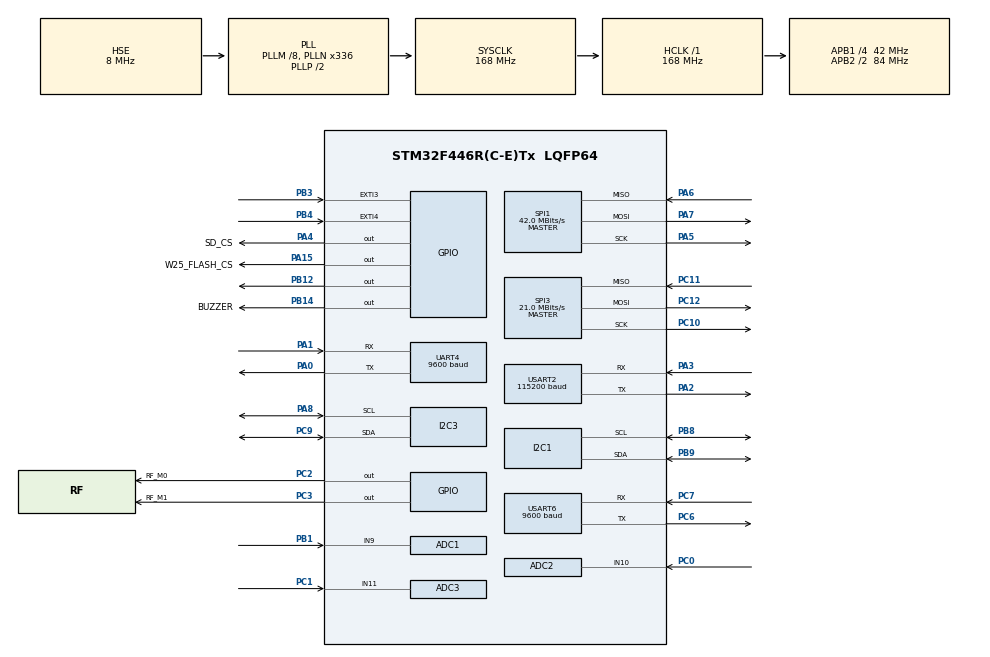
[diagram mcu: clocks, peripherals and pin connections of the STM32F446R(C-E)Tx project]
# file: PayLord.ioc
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ADC1.Channel-1\#ChannelRegularConversion=ADC_CHANNEL_9
ADC1.NbrOfConversionFlag=1
ADC1.Rank-1\#ChannelRegularConversion=1
ADC1.SamplingTime-1\#ChannelRegularConversion=ADC_SAMPLETIME_15CYCLES
ADC1.master=1
ADC2.Channel-0\#ChannelRegularConversion=ADC_CHANNEL_10
ADC2.NbrOfConversionFlag=1
ADC2.Rank-0\#ChannelRegularConversion=1
ADC2.SamplingTime-0\#ChannelRegularConversion=ADC_SAMPLETIME_15CYCLES
ADC3.Channel-0\#ChannelRegularConversion=ADC_CHANNEL_11
ADC3.NbrOfConversionFlag=1
ADC3.Rank-0\#ChannelRegularConversion=1
ADC3.SamplingTime-0\#ChannelRegularConversion=ADC_SAMPLETIME_15CYCLES
Dma.I2C1_RX.3.Direction=DMA_PERIPH_TO_MEMORY
Dma.I2C1_RX.3.FIFOMode=DMA_FIFOMODE_DISABLE
Dma.I2C1_RX.3.Instance=DMA1_Stream0
Dma.I2C1_RX.3.MemDataAlignment=DMA_MDATAALIGN_BYTE
Dma.I2C1_RX.3.MemInc=DMA_MINC_ENABLE
Dma.I2C1_RX.3.Mode=DMA_NORMAL
Dma.I2C1_RX.3.PeriphDataAlignment=DMA_PDATAALIGN_BYTE
Dma.I2C1_RX.3.PeriphInc=DMA_PINC_DISABLE
Dma.I2C1_RX.3.Priority=DMA_PRIORITY_LOW
Dma.Request0=USART6_RX
Dma.Request1=USART2_TX
Dma.Request2=UART4_TX
Dma.Request3=I2C1_RX
Dma.UART4_TX.2.Direction=DMA_MEMORY_TO_PERIPH
Dma.UART4_TX.2.FIFOMode=DMA_FIFOMODE_DISABLE
Dma.UART4_TX.2.Instance=DMA1_Stream4
Dma.UART4_TX.2.MemDataAlignment=DMA_MDATAALIGN_BYTE
Dma.UART4_TX.2.MemInc=DMA_MINC_ENABLE
Dma.UART4_TX.2.Mode=DMA_NORMAL
Dma.UART4_TX.2.PeriphDataAlignment=DMA_PDATAALIGN_BYTE
Dma.UART4_TX.2.PeriphInc=DMA_PINC_DISABLE
Dma.UART4_TX.2.Priority=DMA_PRIORITY_LOW
Dma.USART2_TX.1.Direction=DMA_MEMORY_TO_PERIPH
Dma.USART2_TX.1.FIFOMode=DMA_FIFOMODE_DISABLE
Dma.USART2_TX.1.Instance=DMA1_Stream6
Dma.USART2_TX.1.MemDataAlignment=DMA_MDATAALIGN_BYTE
Dma.USART2_TX.1.MemInc=DMA_MINC_ENABLE
Dma.USART2_TX.1.Mode=DMA_NORMAL
Dma.USART2_TX.1.PeriphDataAlignment=DMA_PDATAALIGN_BYTE
Dma.USART2_TX.1.PeriphInc=DMA_PINC_DISABLE
Dma.USART2_TX.1.Priority=DMA_PRIORITY_LOW
Dma.USART6_RX.0.Direction=DMA_PERIPH_TO_MEMORY
Dma.USART6_RX.0.FIFOMode=DMA_FIFOMODE_DISABLE
Dma.USART6_RX.0.Instance=DMA2_Stream2
Dma.USART6_RX.0.MemDataAlignment=DMA_MDATAALIGN_BYTE
Dma.USART6_RX.0.MemInc=DMA_MINC_ENABLE
Dma.USART6_RX.0.Mode=DMA_CIRCULAR
Dma.USART6_RX.0.PeriphDataAlignment=DMA_PDATAALIGN_BYTE
Dma.USART6_RX.0.PeriphInc=DMA_PINC_DISABLE
Dma.USART6_RX.0.Priority=DMA_PRIORITY_LOW
Mcu.Family=STM32F4
Mcu.Name=STM32F446R(C-E)Tx
Mcu.Package=LQFP64
NVIC.DMA1_Stream0_IRQn=true\:0\:0\:false\:false\:true\:false\:true\:true
NVIC.DMA1_Stream4_IRQn=true\:0\:0\:false\:false\:true\:false\:true\:true
NVIC.DMA1_Stream6_IRQn=true\:0\:0\:false\:false\:true\:false\:true\:true
NVIC.DMA2_Stream2_IRQn=true\:0\:0\:false\:false\:true\:false\:true\:true
NVIC.EXTI3_IRQn=true\:0\:0\:false\:false\:true\:true\:true\:true
NVIC.EXTI4_IRQn=true\:0\:0\:false\:false\:true\:true\:true\:true
NVIC.I2C1_EV_IRQn=true\:0\:0\:false\:false\:true\:true\:true\:true
NVIC.PriorityGroup=NVIC_PRIORITYGROUP_4
NVIC.TIM2_IRQn=true\:0\:0\:false\:false\:true\:true\:true\:true
NVIC.UART4_IRQn=true\:0\:0\:false\:false\:true\:true\:true\:true
NVIC.USART2_IRQn=true\:0\:0\:false\:false\:true\:true\:true\:true
NVIC.USART6_IRQn=true\:0\:0\:false\:false\:true\:true\:true\:true
PA0-WKUP.Mode=Asynchronous
PA0-WKUP.Signal=UART4_TX
PA1.Mode=Asynchronous
PA1.Signal=UART4_RX
PA13.Mode=Serial_Wire
PA13.Signal=SYS_JTMS-SWDIO
PA14.Mode=Serial_Wire
PA14.Signal=SYS_JTCK-SWCLK
PA15.GPIO_Label=W25_FLASH_CS
PA15.Signal=GPIO_Output
PA2.Mode=Asynchronous
PA2.Signal=USART2_TX
PA3.Mode=Asynchronous
PA3.Signal=USART2_RX
PA4.GPIO_Label=SD_CS
PA4.Signal=GPIO_Output
PA5.Mode=Full_Duplex_Master
PA5.Signal=SPI1_SCK
PA6.Mode=Full_Duplex_Master
PA6.Signal=SPI1_MISO
PA7.Mode=Full_Duplex_Master
PA7.Signal=SPI1_MOSI
PA8.GPIO_Pu=GPIO_NOPULL
PA8.Mode=I2C
PA8.Signal=I2C3_SCL
PB1.Signal=ADCx_IN9
PB12.GPIO_Speed=GPIO_SPEED_FREQ_VERY_HIGH
PB12.Signal=GPIO_Output
PB14.GPIO_Label=BUZZER
PB14.Signal=GPIO_Output
PB3.Signal=GPXTI3
PB4.Signal=GPXTI4
PB8.Mode=I2C
PB8.Signal=I2C1_SCL
PB9.Mode=I2C
PB9.Signal=I2C1_SDA
PC0.Signal=ADCx_IN10
PC1.Signal=ADCx_IN11
PC10.Mode=Full_Duplex_Master
PC10.Signal=SPI3_SCK
PC11.Mode=Full_Duplex_Master
PC11.Signal=SPI3_MISO
PC12.Mode=Full_Duplex_Master
PC12.Signal=SPI3_MOSI
PC14-OSC32_IN.Mode=LSE-External-Oscillator
PC14-OSC32_IN.Signal=RCC_OSC32_IN
PC15-OSC32_OUT.Mode=LSE-External-Oscillator
PC15-OSC32_OUT.Signal=RCC_OSC32_OUT
PC2.GPIO_Label=RF_M0
PC2.Signal=GPIO_Output
PC3.GPIO_Label=RF_M1
PC3.Signal=GPIO_Output
PC6.Mode=Asynchronous
PC6.Signal=USART6_TX
PC7.Mode=Asynchronous
PC7.Signal=USART6_RX
PC9.GPIO_Pu=GPIO_NOPULL
PC9.Mode=I2C
PC9.Signal=I2C3_SDA
PH0-OSC_IN.Mode=HSE-External-Oscillator
PH0-OSC_IN.Signal=RCC_OSC_IN
PH1-OSC_OUT.Mode=HSE-External-Oscillator
PH1-OSC_OUT.Signal=RCC_OSC_OUT
ProjectManager.HeapSize=0x200
ProjectManager.StackSize=0x400
ProjectManager.TargetToolchain=STM32CubeIDE
RCC.AHBFreq_Value=168000000
RCC.APB1CLKDivider=RCC_HCLK_DIV4
RCC.APB1Freq_Value=42000000
RCC.APB1TimFreq_Value=84000000
RCC.APB2CLKDivider=RCC_HCLK_DIV2
RCC.APB2Freq_Value=84000000
RCC.APB2TimFreq_Value=168000000
RCC.CortexFreq_Value=168000000
RCC.HCLKFreq_Value=168000000
RCC.HSE_VALUE=8000000
RCC.PLLM=8
RCC.PLLN=336
RCC.PLLSourceVirtual=RCC_PLLSOURCE_HSE
RCC.SYSCLKFreq_VALUE=168000000
RCC.SYSCLKSource=RCC_SYSCLKSOURCE_PLLCLK
RCC.USBFreq_Value=168000000
RCC.VCOOutputFreq_Value=336000000
SH.ADCx_IN10.0=ADC2_IN10,IN10
SH.ADCx_IN11.0=ADC3_IN11,IN11
SH.ADCx_IN9.0=ADC1_IN9,IN9
SPI1.BaudRatePrescaler=SPI_BAUDRATEPRESCALER_2
SPI1.CalculateBaudRate=42.0 MBits/s
SPI1.Direction=SPI_DIRECTION_2LINES
SPI1.Mode=SPI_MODE_MASTER
SPI1.VirtualType=VM_MASTER
SPI3.CalculateBaudRate=21.0 MBits/s
SPI3.Direction=SPI_DIRECTION_2LINES
SPI3.Mode=SPI_MODE_MASTER
SPI3.VirtualType=VM_MASTER
TIM2.Period=999
TIM2.Prescaler=8399
UART4.BaudRate=9600
UART4.VirtualMode=Asynchronous
USART2.BaudRate=115200
USART2.VirtualMode=VM_ASYNC
USART6.BaudRate=9600
USART6.VirtualMode=VM_ASYNC
VP_FATFS_VS_Generic.Mode=User_defined
VP_TIM2_VS_ClockSourceINT.Mode=Internal
board=custom

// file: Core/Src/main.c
/* USER CODE BEGIN Header */
/**
  ******************************************************************************
  * @file           : main.c
  * @brief          : Main program body for SkyLord2 Flight Computer
  ******************************************************************************
  * @attention
  *
  * Copyright (c) 2025 STMicroelectronics.
  * All rights reserved.
  *
  * This software is licensed under terms that can be found in the LICENSE file
  * in the root directory of this software component.
  * If no LICENSE file comes with this software, it is provided AS-IS.
  *
  ******************************************************************************
  */

/**
  ******************************************************************************
  * SkyLord2 Flight Computer - Main Application
  *
  * This application implements a comprehensive flight computer system for rocket
  * telemetry and control, featuring:
  *
  * SENSORS:
  * - BME280: Environmental sensor (temperature, humidity, pressure)
  * - BMI088: 6-axis IMU (3-axis accelerometer + 3-axis gyroscope)
  * - HMC1021: Single-axis magnetometer for magnetic field measurement
  * - L86 GPS/GNSS: Position and navigation data
  *
  * COMMUNICATION:
  * - E22 LoRa module: Long-range wireless telemetry transmission
  * - UART: Debug and telemetry output
  *
  * PROCESSING:
  * - Real-time sensor fusion using quaternion-based algorithms
  * - Kalman filtering for noise reduction
  * - Flight state estimation and control
  *
  * TIMING:
  * - 100ms periodic operations for data acquisition
  * - 1s periodic operations for magnetometer calibration
  * - Continuous sensor monitoring and data fusion
  *
  ******************************************************************************
  */
/* USER CODE END Header */
#include "main.h"
#include "fatfs.h"

/* USER CODE BEGIN Includes */

/* Project configuration */
#include "configuration.h"
#include "w25_flash_memory.h"

/* Standard library includes */
#include <string.h>
#include <stdio.h>
#include <math.h>

/* Sensor drivers */
#include "bme280.h"          // Environmental sensor (temp, humidity, pressure)
#include "bmi088.h"          // 6-axis IMU (accelerometer + gyroscope)
#include "l86_gnss.h"        // GPS/GNSS module

/* Communication modules */
#include "e22_lib.h"           // LoRa wireless communication
#include "packet.h"          // Telemetry packet handling
#include "data_logger.h"

/* FATFS File System */
#include "fatfs.h"             // FATFS file system

/* Profiling module */
//#include "dwt_profiler.h"      // DWT performance profiler

/* Algorithm and processing modules */
#include "queternion.h"         // Quaternion mathematics
#include "sensor_fusion.h"      // Sensor fusion algorithms
#include "flight_algorithm.h"   // Flight state detection and control

/*MATHEMATICAL CONSTANTS*/
#ifndef M_PI
#define M_PI 3.14159265358979323846f
#endif

/* USER CODE END Includes */

/* USER CODE BEGIN PM */
#define IMU_I2C_HNDLR	hi2c1 //put your I2C handler

#define CRNT_COEF					(float)0.0008056641	// Current coefficient (A)
/* USER CODE END PM */

ADC_HandleTypeDef hadc1;
ADC_HandleTypeDef hadc2;
ADC_HandleTypeDef hadc3;

I2C_HandleTypeDef hi2c1;
I2C_HandleTypeDef hi2c3;
DMA_HandleTypeDef hdma_i2c1_rx;

SPI_HandleTypeDef hspi1;
SPI_HandleTypeDef hspi3;

TIM_HandleTypeDef htim2;

UART_HandleTypeDef huart4;
UART_HandleTypeDef huart2;
UART_HandleTypeDef huart6;
DMA_HandleTypeDef hdma_uart4_tx;
DMA_HandleTypeDef hdma_usart2_tx;
DMA_HandleTypeDef hdma_usart6_rx;

/* USER CODE BEGIN PV */

/*==================== SENSOR STRUCTURES ====================*/
// Environmental sensor (BME280) - temperature, humidity, pressure
static BME_280_t BME280_sensor;         // BME280 barometric pressure sensor
bmi088_struct_t BMI_sensor;             // BMI088 IMU sensor (accelerometer + gyroscope)
sensor_fusion_t sensor_output;          // Sensor fusion output data
BME_parameters_t bme_params;             // BME280 calibration parameters
gps_data_t gnss_data;                  // L86 GNSS receiver data
static e22_conf_struct_t lora_1;

/*==================== COMMUNICATION BUFFERS ====================*/
// UART communication buffers
uint8_t usart1_rx_buffer[36];
static char uart_buffer[128];
extern unsigned char normal_paket[50];  // Normal mode telemetry packet
extern unsigned char sd_paket[64];  // Normal mode telemetry packet

volatile uint8_t usart4_tx_busy = 0;       // UART4 transmission busy flag
volatile uint8_t usart2_tx_busy = 0;       // UART2 transmission busy flag

/*==================== TIMING AND STATUS FLAGS ====================*/
// Timer flags for periodic operations
volatile uint8_t tx_timer_flag_100ms = 0;
volatile uint8_t tx_timer_flag_1s = 0;

// Communication status flags
volatile uint8_t usart1_packet_ready = 0;
volatile uint16_t usart1_packet_size = 0;
volatile uint8_t usart1_tx_busy = 0;

// ADC conversion status flags
volatile uint8_t adc_conversion_complete = 0;
volatile uint8_t adc_timer_flag_100ms = 0;
volatile uint8_t sr_in_timer_flag_1s = 0;

/*==================== SENSOR STATUS VARIABLES ====================*/
// Sensor initialization and health status
int is_BME_ok = 0;
int is_BMI_ok = 0;
int bmi_status_ok = 0;
uint32_t lastUpdate = 0;

// External configuration variables
extern volatile uint8_t tx_timer_flag_w25q;
extern uint8_t sector_erase_started;
extern uint8_t Gain;
extern uint8_t gyroOnlyMode;

/*==================== ADC BUFFERS AND MAGNETOMETER DATA ====================*/
// General ADC buffers
uint16_t adc1_buffer[1];
uint16_t adc2_buffer[1];
float current_mA = 0.0f;
float voltage_V = 0.0f;

// HMC1021 magnetometer (single axis) data
volatile uint16_t hmc1021_adc_buffer[1];
float hmc1021_voltage = 0.0f;
float hmc1021_gauss = 0.0f;

/* USER CODE END PV */

void SystemClock_Config(void);
static void MX_GPIO_Init(void);
static void MX_DMA_Init(void);
static void MX_I2C1_Init(void);
static void MX_I2C3_Init(void);
static void MX_TIM2_Init(void);
static void MX_USART2_UART_Init(void);
static void MX_ADC1_Init(void);
static void MX_USART6_UART_Init(void);
static void MX_UART4_Init(void);
static void MX_ADC2_Init(void);
static void MX_ADC3_Init(void);
static void MX_SPI1_Init(void);
static void MX_SPI3_Init(void);
/* USER CODE BEGIN PFP */
static void bme280_begin();
uint8_t bmi_imu_init(void);
void read_value();
void read_ADC(void);
void lora_send_packet_dma(uint8_t *data, uint16_t size);
void uart2_send_packet_dma(uint8_t *data, uint16_t size);
void lora_init(void);                 // Initialize LoRa E22 module

/* USER CODE END PFP */

int main(void)
{

  /* MCU Configuration--------------------------------------------------------*/

  /* Reset of all peripherals, Initializes the Flash interface and the Systick. */
  HAL_Init();

  /* Configure the system clock */
  SystemClock_Config();

  /* Initialize all configured peripherals */
  MX_GPIO_Init();
  MX_DMA_Init();
  MX_I2C1_Init();
  MX_I2C3_Init();
  MX_TIM2_Init();
  MX_USART2_UART_Init();
  MX_ADC1_Init();
  MX_USART6_UART_Init();
  MX_UART4_Init();
  MX_ADC2_Init();
  MX_ADC3_Init();
  MX_SPI1_Init();
  MX_FATFS_Init();
  MX_SPI3_Init();
  /* USER CODE BEGIN 2 */

	/*==================== TIMER AND INTERRUPT CONFIGURATION ====================*/
	// Initialize and start timer for periodic operations (100ms intervals)
	MX_TIM2_Init();
	HAL_TIM_Base_Start_IT(&htim2);
	HAL_NVIC_SetPriority(TIM2_IRQn, 1, 0);
	HAL_NVIC_EnableIRQ(TIM2_IRQn);

	// Configure external interrupt priorities for sensor data ready signals
	HAL_NVIC_SetPriority(EXTI3_IRQn, 0, 1);
	HAL_NVIC_SetPriority(EXTI4_IRQn, 0, 1);

	// Enable external interrupts for sensor data ready signals
	HAL_NVIC_EnableIRQ(EXTI4_IRQn);
	HAL_NVIC_EnableIRQ(EXTI3_IRQn);

	/* ==== SENSOR INITIALIZATION ==== */
	// Initialize BME280 sensor (temperature, humidity, pressure)
	bme280_begin();
	HAL_Delay(1000);
	bme280_config();
	bme280_update();

	// Initialize BMI088 IMU (accelerometer and gyroscope)
	bmi_imu_init();
	bmi088_config(&BMI_sensor);
	get_offset(&BMI_sensor);

	/*==================== SENSOR FUSION INITIALIZATION ====================*/
	// Initialize quaternion-based sensor fusion
	getInitialQuaternion();
	sensor_fusion_init(&BME280_sensor);

	/*==================== DWT PROFILER INITIALIZATION ====================*/
	// Initialize DWT profiler for performance monitoring
	//dwt_profiler_init();

	/* ==== LORA COMMUNICATION SETUP ==== */
    e22_config_mode(&lora_1);
    HAL_Delay(20);
	lora_init();
    HAL_Delay(20);
	e22_transmit_mode(&lora_1);

	/* ==== GPS/GNSS INITIALIZATION ==== */
	// Initialize L86 GPS/GNSS module
	HAL_UART_Transmit(&huart6, (uint8_t*)"$PMTK251,57600*2C\r\n", 19, 100);
    HAL_UART_DeInit(&huart6);
    huart6.Init.BaudRate = 57600;
    HAL_UART_Init(&huart6);
	HAL_DMA_Init(&hdma_usart6_rx);
	L86_GNSS_Init(&huart6);

	data_logger_init();
	W25Q_Init(&hspi3);

    HAL_GPIO_WritePin(BUZZER_GPIO_Port, BUZZER_Pin, SET);
    HAL_Delay(300);
    HAL_GPIO_WritePin(BUZZER_GPIO_Port, BUZZER_Pin, RESET);
  /* USER CODE END 2 */

  /* Infinite loop */
  while (1)
  {

    /* USER CODE BEGIN 3 */

		/*CONTINUOUS SENSOR UPDATES*/

		//PROFILE_START(PROF_BMI088_UPDATE);
		bmi088_update(&BMI_sensor);		// Update IMU sensor data (accelerometer + gyroscope) - High frequency sampling
		//PROFILE_END(PROF_BMI088_UPDATE);

		//PROFILE_START(PROF_BME280_UPDATE);
		bme280_update(); 		// Update barometric pressure sensor data for altitude estimation
		//PROFILE_END(PROF_BME280_UPDATE);

		/*PERIODIC OPERATIONS (100ms)*/
		if (tx_timer_flag_100ms >= 1) {
		  tx_timer_flag_100ms = 0;

		  // Read magnetometer ADC values
		  //PROFILE_START(PROF_ADC_READ);
		  read_ADC();
		  //PROFILE_END(PROF_ADC_READ);

		  // Sensor fusion and flight algorithm processing
		  //PROFILE_START(PROF_SENSOR_FUSION);
		  sensor_fusion_update_kalman(&BME280_sensor, &BMI_sensor, &sensor_output);
		  //PROFILE_END(PROF_SENSOR_FUSION);

		  //PROFILE_START(PROF_FLIGHT_ALGORITHM);
		  flight_algorithm_update(&BME280_sensor, &BMI_sensor, &sensor_output);
		  //PROFILE_END(PROF_FLIGHT_ALGORITHM);

		  // Update GPS/GNSS data
		  //PROFILE_START(PROF_GNSS_UPDATE);
		  L86_GNSS_Update(&gnss_data);
		  //PROFILE_END(PROF_GNSS_UPDATE);

		  // Packet compose
		  //PROFILE_START(PROF_PACKET_COMPOSE);
		  addDataPacketNormal(&BME280_sensor, &BMI_sensor, &sensor_output, &gnss_data, hmc1021_gauss, voltage_V, current_mA);
		  //PROFILE_END(PROF_PACKET_COMPOSE);

		  addDataPacketSD(&BME280_sensor, &BMI_sensor, &sensor_output, &gnss_data, hmc1021_gauss, voltage_V, current_mA);

		  //PROFILE_START(PROF_SD_LOGGER);
		  log_normal_packet_data(sd_paket);
		  //PROFILE_END(PROF_SD_LOGGER);

		  W25Q_WriteToBufferFlushOnSectorFull(sd_paket);

		  //Send telemetry packet via DMA (non-blocking)
		  //7PROFILE_START(PROF_UART2_SEND);
		  uart2_send_packet_dma((uint8_t*)normal_paket, 50);
		  //PROFILE_END(PROF_UART2_SEND);

		  // Output profiling results via UART2
		  //dwt_profiler_print_compact(uart2_send_packet_dma);

		}

		/*PERIODIC OPERATIONS (1 SECOND)*/
		// Execute operations every 1 second (10 * 100ms)
		if (tx_timer_flag_1s >= 2) {
		  tx_timer_flag_1s = 0;

		  //PROFILE_START(PROF_LORA_SEND);
		  lora_send_packet_dma((uint8_t*)normal_paket, 50);
		  //PROFILE_END(PROF_LORA_SEND);

		}

  	  }
  /* USER CODE END 3 */
}

void SystemClock_Config(void)
{
  RCC_OscInitTypeDef RCC_OscInitStruct = {0};
  RCC_ClkInitTypeDef RCC_ClkInitStruct = {0};

  /** Configure the main internal regulator output voltage
  */
  __HAL_RCC_PWR_CLK_ENABLE();
  __HAL_PWR_VOLTAGESCALING_CONFIG(PWR_REGULATOR_VOLTAGE_SCALE1);

  /** Initializes the RCC Oscillators according to the specified parameters
  * in the RCC_OscInitTypeDef structure.
  */
  RCC_OscInitStruct.OscillatorType = RCC_OSCILLATORTYPE_HSE;
  RCC_OscInitStruct.HSEState = RCC_HSE_ON;
  RCC_OscInitStruct.PLL.PLLState = RCC_PLL_ON;
  RCC_OscInitStruct.PLL.PLLSource = RCC_PLLSOURCE_HSE;
  RCC_OscInitStruct.PLL.PLLM = 8;
  RCC_OscInitStruct.PLL.PLLN = 336;
  RCC_OscInitStruct.PLL.PLLP = RCC_PLLP_DIV2;
  RCC_OscInitStruct.PLL.PLLQ = 2;
  RCC_OscInitStruct.PLL.PLLR = 2;
  if (HAL_RCC_OscConfig(&RCC_OscInitStruct) != HAL_OK)
  {
    Error_Handler();
  }

  /** Initializes the CPU, AHB and APB buses clocks
  */
  RCC_ClkInitStruct.ClockType = RCC_CLOCKTYPE_HCLK|RCC_CLOCKTYPE_SYSCLK
                              |RCC_CLOCKTYPE_PCLK1|RCC_CLOCKTYPE_PCLK2;
  RCC_ClkInitStruct.SYSCLKSource = RCC_SYSCLKSOURCE_PLLCLK;
  RCC_ClkInitStruct.AHBCLKDivider = RCC_SYSCLK_DIV1;
  RCC_ClkInitStruct.APB1CLKDivider = RCC_HCLK_DIV4;
  RCC_ClkInitStruct.APB2CLKDivider = RCC_HCLK_DIV2;

  if (HAL_RCC_ClockConfig(&RCC_ClkInitStruct, FLASH_LATENCY_5) != HAL_OK)
  {
    Error_Handler();
  }
}

static void MX_ADC1_Init(void)
{

  ADC_ChannelConfTypeDef sConfig = {0};

  /** Configure the global features of the ADC (Clock, Resolution, Data Alignment and number of conversion)
  */
  hadc1.Instance = ADC1;
  hadc1.Init.ClockPrescaler = ADC_CLOCK_SYNC_PCLK_DIV4;
  hadc1.Init.Resolution = ADC_RESOLUTION_12B;
  hadc1.Init.ScanConvMode = DISABLE;
  hadc1.Init.ContinuousConvMode = DISABLE;
  hadc1.Init.DiscontinuousConvMode = DISABLE;
  hadc1.Init.ExternalTrigConvEdge = ADC_EXTERNALTRIGCONVEDGE_NONE;
  hadc1.Init.ExternalTrigConv = ADC_SOFTWARE_START;
  hadc1.Init.DataAlign = ADC_DATAALIGN_RIGHT;
  hadc1.Init.NbrOfConversion = 1;
  hadc1.Init.DMAContinuousRequests = DISABLE;
  hadc1.Init.EOCSelection = ADC_EOC_SINGLE_CONV;
  if (HAL_ADC_Init(&hadc1) != HAL_OK)
  {
    Error_Handler();
  }

  /** Configure for the selected ADC regular channel its corresponding rank in the sequencer and its sample time.
  */
  sConfig.Channel = ADC_CHANNEL_9;
  sConfig.Rank = 1;
  sConfig.SamplingTime = ADC_SAMPLETIME_15CYCLES;
  if (HAL_ADC_ConfigChannel(&hadc1, &sConfig) != HAL_OK)
  {
    Error_Handler();
  }

}

static void MX_ADC2_Init(void)
{

  ADC_ChannelConfTypeDef sConfig = {0};

  /** Configure the global features of the ADC (Clock, Resolution, Data Alignment and number of conversion)
  */
  hadc2.Instance = ADC2;
  hadc2.Init.ClockPrescaler = ADC_CLOCK_SYNC_PCLK_DIV4;
  hadc2.Init.Resolution = ADC_RESOLUTION_12B;
  hadc2.Init.ScanConvMode = DISABLE;
  hadc2.Init.ContinuousConvMode = DISABLE;
  hadc2.Init.DiscontinuousConvMode = DISABLE;
  hadc2.Init.ExternalTrigConvEdge = ADC_EXTERNALTRIGCONVEDGE_NONE;
  hadc2.Init.ExternalTrigConv = ADC_SOFTWARE_START;
  hadc2.Init.DataAlign = ADC_DATAALIGN_RIGHT;
  hadc2.Init.NbrOfConversion = 1;
  hadc2.Init.DMAContinuousRequests = DISABLE;
  hadc2.Init.EOCSelection = ADC_EOC_SINGLE_CONV;
  if (HAL_ADC_Init(&hadc2) != HAL_OK)
  {
    Error_Handler();
  }

  /** Configure for the selected ADC regular channel its corresponding rank in the sequencer and its sample time.
  */
  sConfig.Channel = ADC_CHANNEL_10;
  sConfig.Rank = 1;
  sConfig.SamplingTime = ADC_SAMPLETIME_15CYCLES;
  if (HAL_ADC_ConfigChannel(&hadc2, &sConfig) != HAL_OK)
  {
    Error_Handler();
  }

}

static void MX_ADC3_Init(void)
{

  ADC_ChannelConfTypeDef sConfig = {0};

  /** Configure the global features of the ADC (Clock, Resolution, Data Alignment and number of conversion)
  */
  hadc3.Instance = ADC3;
  hadc3.Init.ClockPrescaler = ADC_CLOCK_SYNC_PCLK_DIV4;
  hadc3.Init.Resolution = ADC_RESOLUTION_12B;
  hadc3.Init.ScanConvMode = DISABLE;
  hadc3.Init.ContinuousConvMode = DISABLE;
  hadc3.Init.DiscontinuousConvMode = DISABLE;
  hadc3.Init.ExternalTrigConvEdge = ADC_EXTERNALTRIGCONVEDGE_NONE;
  hadc3.Init.ExternalTrigConv = ADC_SOFTWARE_START;
  hadc3.Init.DataAlign = ADC_DATAALIGN_RIGHT;
  hadc3.Init.NbrOfConversion = 1;
  hadc3.Init.DMAContinuousRequests = DISABLE;
  hadc3.Init.EOCSelection = ADC_EOC_SINGLE_CONV;
  if (HAL_ADC_Init(&hadc3) != HAL_OK)
  {
    Error_Handler();
  }

  /** Configure for the selected ADC regular channel its corresponding rank in the sequencer and its sample time.
  */
  sConfig.Channel = ADC_CHANNEL_11;
  sConfig.Rank = 1;
  sConfig.SamplingTime = ADC_SAMPLETIME_15CYCLES;
  if (HAL_ADC_ConfigChannel(&hadc3, &sConfig) != HAL_OK)
  {
    Error_Handler();
  }

}

static void MX_I2C1_Init(void)
{

  hi2c1.Instance = I2C1;
  hi2c1.Init.ClockSpeed = 100000;
  hi2c1.Init.DutyCycle = I2C_DUTYCYCLE_2;
  hi2c1.Init.OwnAddress1 = 0;
  hi2c1.Init.AddressingMode = I2C_ADDRESSINGMODE_7BIT;
  hi2c1.Init.DualAddressMode = I2C_DUALADDRESS_DISABLE;
  hi2c1.Init.OwnAddress2 = 0;
  hi2c1.Init.GeneralCallMode = I2C_GENERALCALL_DISABLE;
  hi2c1.Init.NoStretchMode = I2C_NOSTRETCH_DISABLE;
  if (HAL_I2C_Init(&hi2c1) != HAL_OK)
  {
    Error_Handler();
  }

}

static void MX_I2C3_Init(void)
{

  hi2c3.Instance = I2C3;
  hi2c3.Init.ClockSpeed = 100000;
  hi2c3.Init.DutyCycle = I2C_DUTYCYCLE_2;
  hi2c3.Init.OwnAddress1 = 0;
  hi2c3.Init.AddressingMode = I2C_ADDRESSINGMODE_7BIT;
  hi2c3.Init.DualAddressMode = I2C_DUALADDRESS_DISABLE;
  hi2c3.Init.OwnAddress2 = 0;
  hi2c3.Init.GeneralCallMode = I2C_GENERALCALL_DISABLE;
  hi2c3.Init.NoStretchMode = I2C_NOSTRETCH_DISABLE;
  if (HAL_I2C_Init(&hi2c3) != HAL_OK)
  {
    Error_Handler();
  }

}

static void MX_SPI1_Init(void)
{

  /* SPI1 parameter configuration*/
  hspi1.Instance = SPI1;
  hspi1.Init.Mode = SPI_MODE_MASTER;
  hspi1.Init.Direction = SPI_DIRECTION_2LINES;
  hspi1.Init.DataSize = SPI_DATASIZE_8BIT;
  hspi1.Init.CLKPolarity = SPI_POLARITY_LOW;
  hspi1.Init.CLKPhase = SPI_PHASE_1EDGE;
  hspi1.Init.NSS = SPI_NSS_SOFT;
  hspi1.Init.BaudRatePrescaler = SPI_BAUDRATEPRESCALER_2;
  hspi1.Init.FirstBit = SPI_FIRSTBIT_MSB;
  hspi1.Init.TIMode = SPI_TIMODE_DISABLE;
  hspi1.Init.CRCCalculation = SPI_CRCCALCULATION_DISABLE;
  hspi1.Init.CRCPolynomial = 10;
  if (HAL_SPI_Init(&hspi1) != HAL_OK)
  {
    Error_Handler();
  }

}

static void MX_SPI3_Init(void)
{

  /* SPI3 parameter configuration*/
  hspi3.Instance = SPI3;
  hspi3.Init.Mode = SPI_MODE_MASTER;
  hspi3.Init.Direction = SPI_DIRECTION_2LINES;
  hspi3.Init.DataSize = SPI_DATASIZE_8BIT;
  hspi3.Init.CLKPolarity = SPI_POLARITY_LOW;
  hspi3.Init.CLKPhase = SPI_PHASE_1EDGE;
  hspi3.Init.NSS = SPI_NSS_SOFT;
  hspi3.Init.BaudRatePrescaler = SPI_BAUDRATEPRESCALER_2;
  hspi3.Init.FirstBit = SPI_FIRSTBIT_MSB;
  hspi3.Init.TIMode = SPI_TIMODE_DISABLE;
  hspi3.Init.CRCCalculation = SPI_CRCCALCULATION_DISABLE;
  hspi3.Init.CRCPolynomial = 10;
  if (HAL_SPI_Init(&hspi3) != HAL_OK)
  {
    Error_Handler();
  }

}

static void MX_TIM2_Init(void)
{

  TIM_ClockConfigTypeDef sClockSourceConfig = {0};
  TIM_MasterConfigTypeDef sMasterConfig = {0};

  htim2.Instance = TIM2;
  htim2.Init.Prescaler = 8399;
  htim2.Init.CounterMode = TIM_COUNTERMODE_UP;
  htim2.Init.Period = 999;
  htim2.Init.ClockDivision = TIM_CLOCKDIVISION_DIV1;
  htim2.Init.AutoReloadPreload = TIM_AUTORELOAD_PRELOAD_DISABLE;
  if (HAL_TIM_Base_Init(&htim2) != HAL_OK)
  {
    Error_Handler();
  }
  sClockSourceConfig.ClockSource = TIM_CLOCKSOURCE_INTERNAL;
  if (HAL_TIM_ConfigClockSource(&htim2, &sClockSourceConfig) != HAL_OK)
  {
    Error_Handler();
  }
  sMasterConfig.MasterOutputTrigger = TIM_TRGO_RESET;
  sMasterConfig.MasterSlaveMode = TIM_MASTERSLAVEMODE_DISABLE;
  if (HAL_TIMEx_MasterConfigSynchronization(&htim2, &sMasterConfig) != HAL_OK)
  {
    Error_Handler();
  }

}

static void MX_UART4_Init(void)
{

  huart4.Instance = UART4;
  huart4.Init.BaudRate = 9600;
  huart4.Init.WordLength = UART_WORDLENGTH_8B;
  huart4.Init.StopBits = UART_STOPBITS_1;
  huart4.Init.Parity = UART_PARITY_NONE;
  huart4.Init.Mode = UART_MODE_TX_RX;
  huart4.Init.HwFlowCtl = UART_HWCONTROL_NONE;
  huart4.Init.OverSampling = UART_OVERSAMPLING_16;
  if (HAL_UART_Init(&huart4) != HAL_OK)
  {
    Error_Handler();
  }

}

static void MX_USART2_UART_Init(void)
{

  huart2.Instance = USART2;
  huart2.Init.BaudRate = 115200;
  huart2.Init.WordLength = UART_WORDLENGTH_8B;
  huart2.Init.StopBits = UART_STOPBITS_1;
  huart2.Init.Parity = UART_PARITY_NONE;
  huart2.Init.Mode = UART_MODE_TX_RX;
  huart2.Init.HwFlowCtl = UART_HWCONTROL_NONE;
  huart2.Init.OverSampling = UART_OVERSAMPLING_16;
  if (HAL_UART_Init(&huart2) != HAL_OK)
  {
    Error_Handler();
  }

}

static void MX_USART6_UART_Init(void)
{

  huart6.Instance = USART6;
  huart6.Init.BaudRate = 9600;
  huart6.Init.WordLength = UART_WORDLENGTH_8B;
  huart6.Init.StopBits = UART_STOPBITS_1;
  huart6.Init.Parity = UART_PARITY_NONE;
  huart6.Init.Mode = UART_MODE_TX_RX;
  huart6.Init.HwFlowCtl = UART_HWCONTROL_NONE;
  huart6.Init.OverSampling = UART_OVERSAMPLING_16;
  if (HAL_UART_Init(&huart6) != HAL_OK)
  {
    Error_Handler();
  }

}

static void MX_DMA_Init(void)
{

  /* DMA controller clock enable */
  __HAL_RCC_DMA2_CLK_ENABLE();
  __HAL_RCC_DMA1_CLK_ENABLE();

  /* DMA interrupt init */
  /* DMA1_Stream0_IRQn interrupt configuration */
  HAL_NVIC_SetPriority(DMA1_Stream0_IRQn, 0, 0);
  HAL_NVIC_EnableIRQ(DMA1_Stream0_IRQn);
  /* DMA1_Stream4_IRQn interrupt configuration */
  HAL_NVIC_SetPriority(DMA1_Stream4_IRQn, 0, 0);
  HAL_NVIC_EnableIRQ(DMA1_Stream4_IRQn);
  /* DMA1_Stream6_IRQn interrupt configuration */
  HAL_NVIC_SetPriority(DMA1_Stream6_IRQn, 0, 0);
  HAL_NVIC_EnableIRQ(DMA1_Stream6_IRQn);
  /* DMA2_Stream2_IRQn interrupt configuration */
  HAL_NVIC_SetPriority(DMA2_Stream2_IRQn, 0, 0);
  HAL_NVIC_EnableIRQ(DMA2_Stream2_IRQn);

}

static void MX_GPIO_Init(void)
{
  GPIO_InitTypeDef GPIO_InitStruct = {0};

  /* GPIO Ports Clock Enable */
  __HAL_RCC_GPIOC_CLK_ENABLE();
  __HAL_RCC_GPIOH_CLK_ENABLE();
  __HAL_RCC_GPIOA_CLK_ENABLE();
  __HAL_RCC_GPIOB_CLK_ENABLE();

  /*Configure GPIO pin Output Level */
  HAL_GPIO_WritePin(GPIOC, RF_M0_Pin|RF_M1_Pin, GPIO_PIN_RESET);

  /*Configure GPIO pin Output Level */
  HAL_GPIO_WritePin(GPIOA, SD_CS_Pin|W25_FLASH_CS_Pin, GPIO_PIN_RESET);

  /*Configure GPIO pin Output Level */
  HAL_GPIO_WritePin(GPIOB, GPIO_PIN_12|BUZZER_Pin, GPIO_PIN_RESET);

  /*Configure GPIO pins : RF_M0_Pin RF_M1_Pin */
  GPIO_InitStruct.Pin = RF_M0_Pin|RF_M1_Pin;
  GPIO_InitStruct.Mode = GPIO_MODE_OUTPUT_PP;
  GPIO_InitStruct.Pull = GPIO_NOPULL;
  GPIO_InitStruct.Speed = GPIO_SPEED_FREQ_LOW;
  HAL_GPIO_Init(GPIOC, &GPIO_InitStruct);

  /*Configure GPIO pins : SD_CS_Pin W25_FLASH_CS_Pin */
  GPIO_InitStruct.Pin = SD_CS_Pin|W25_FLASH_CS_Pin;
  GPIO_InitStruct.Mode = GPIO_MODE_OUTPUT_PP;
  GPIO_InitStruct.Pull = GPIO_NOPULL;
  GPIO_InitStruct.Speed = GPIO_SPEED_FREQ_LOW;
  HAL_GPIO_Init(GPIOA, &GPIO_InitStruct);

  /*Configure GPIO pin : PB12 */
  GPIO_InitStruct.Pin = GPIO_PIN_12;
  GPIO_InitStruct.Mode = GPIO_MODE_OUTPUT_PP;
  GPIO_InitStruct.Pull = GPIO_NOPULL;
  GPIO_InitStruct.Speed = GPIO_SPEED_FREQ_VERY_HIGH;
  HAL_GPIO_Init(GPIOB, &GPIO_InitStruct);

  /*Configure GPIO pin : BUZZER_Pin */
  GPIO_InitStruct.Pin = BUZZER_Pin;
  GPIO_InitStruct.Mode = GPIO_MODE_OUTPUT_PP;
  GPIO_InitStruct.Pull = GPIO_NOPULL;
  GPIO_InitStruct.Speed = GPIO_SPEED_FREQ_LOW;
  HAL_GPIO_Init(BUZZER_GPIO_Port, &GPIO_InitStruct);

  /*Configure GPIO pins : PB3 PB4 */
  GPIO_InitStruct.Pin = GPIO_PIN_3|GPIO_PIN_4;
  GPIO_InitStruct.Mode = GPIO_MODE_IT_RISING;
  GPIO_InitStruct.Pull = GPIO_NOPULL;
  HAL_GPIO_Init(GPIOB, &GPIO_InitStruct);

  /* EXTI interrupt init*/
  HAL_NVIC_SetPriority(EXTI3_IRQn, 0, 0);
  HAL_NVIC_EnableIRQ(EXTI3_IRQn);

  HAL_NVIC_SetPriority(EXTI4_IRQn, 0, 0);
  HAL_NVIC_EnableIRQ(EXTI4_IRQn);

}

/* USER CODE BEGIN 4 */

/**
 * @brief Initialize LoRa E22 module
 * @note Configures LoRa module for telemetry transmission
 */
void lora_init(void)
{
	lora_1.baud_rate 		= 	E22_BAUD_RATE_115200;
	lora_1.parity_bit		=	E22_PARITY_8N1;
	lora_1.air_rate			=	E22_AIR_DATA_RATE_38400;
	lora_1.packet_size		=	E22_PACKET_SIZE_64;
	lora_1.rssi_noise		=	E22_RSSI_NOISE_DISABLE;
	lora_1.power			=	E22_TRANSMITTING_POWER_22;
	lora_1.rssi_enable		=	E22_ENABLE_RSSI_DISABLE;
	lora_1.mode				= 	E22_TRANSMISSION_MODE_TRANSPARENT;
	lora_1.repeater_func	=	E22_REPEATER_FUNC_DISABLE;
	lora_1.lbt				=	E22_LBT_DISABLE;
	lora_1.wor				=	E22_WOR_RECEIVER;
	lora_1.wor_cycle		=	E22_WOR_CYCLE_1000;
	lora_1.channel			=	28;

	e22_init(&lora_1, &huart4);

	HAL_UART_DeInit(&huart4);
	HAL_Delay(20);
	huart4.Init.BaudRate = 115200;
	HAL_Delay(20);
	HAL_UART_Init(&huart4);

}

/**
 * @brief Initialize BME280 environmental sensor
 * @note Configures BME280 with predefined settings for normal operation
 */
void bme280_begin()
{
  BME280_sensor.device_config.bme280_filter = BME280_FILTER_2;
  BME280_sensor.device_config.bme280_mode = BME280_MODE_NORMAL;
  BME280_sensor.device_config.bme280_output_speed = BME280_OS_4;
  BME280_sensor.device_config.bme280_standby_time = BME280_STBY_125;
  bme280_init(&BME280_sensor, &hi2c3);
}

/**
 * @brief Initialize BMI088 IMU sensor
 * @return Initialization status
 * @note Configures both accelerometer and gyroscope with optimal settings
 */
uint8_t bmi_imu_init(void)
{
  // Accelerometer configuration
  BMI_sensor.device_config.acc_bandwith = ACC_BWP_OSR4;
  BMI_sensor.device_config.acc_outputDateRate = ACC_ODR_200;
  BMI_sensor.device_config.acc_powerMode = ACC_PWR_SAVE_ACTIVE;
  BMI_sensor.device_config.acc_range = ACC_RANGE_24G;

  // Gyroscope configuration
  BMI_sensor.device_config.gyro_bandWidth = GYRO_BW_116;
  BMI_sensor.device_config.gyro_range = GYRO_RANGE_2000;
  BMI_sensor.device_config.gyro_powerMode = GYRO_LPM_NORMAL;

  // Interrupt and I2C configuration
  BMI_sensor.device_config.acc_IRQ = EXTI3_IRQn;
  BMI_sensor.device_config.gyro_IRQ = EXTI4_IRQn;
  BMI_sensor.device_config.BMI_I2c = &IMU_I2C_HNDLR;
  BMI_sensor.device_config.offsets = NULL; // Offset data stored in backup SRAM

  return bmi088_init(&BMI_sensor);
}

/**
 * @brief Read and transmit sensor values via UART
 * @note Formats and sends IMU orientation data and system parameters
 */
void read_value(){
  // Quaternion değerlerini test et
  float yaw = BMI_sensor.datas.yaw;     // Mahony'den
  float pitch = BMI_sensor.datas.pitch; // Mahony'den
  float roll = BMI_sensor.datas.roll;   // Mahony'den
  float theta = BMI_sensor.datas.theta; // Z açısı
  float yaw1 = BMI_sensor.datas.yaw1;   // EKF'den
  float pitch1 = BMI_sensor.datas.pitch1; // EKF'den
  float roll1 = BMI_sensor.datas.roll1;   // EKF'den

  // Transmit Mahony quaternion data
  sprintf(uart_buffer, "MAHONY: Y:%.2f P:%.2f R:%.2f T:%.2f\r\n", yaw, pitch, roll, theta);
  HAL_UART_Transmit(&huart2, (uint8_t*)uart_buffer, strlen(uart_buffer), 100);

  // Transmit EKF quaternion data
  sprintf(uart_buffer, "EKF: Y:%.2f P:%.2f R:%.2f\r\n", yaw1, pitch1, roll1);
  HAL_UART_Transmit(&huart2, (uint8_t*)uart_buffer, strlen(uart_buffer), 100);

  // Transmit raw sensor data for debug
  sprintf(uart_buffer, "GYRO: X:%.3f Y:%.3f Z:%.3f\r\n", BMI_sensor.datas.gyro_x, BMI_sensor.datas.gyro_y, BMI_sensor.datas.gyro_z);
  HAL_UART_Transmit(&huart2, (uint8_t*)uart_buffer, strlen(uart_buffer), 100);

  sprintf(uart_buffer, "ACC: X:%.3f Y:%.3f Z:%.3f DT:%.3f\r\n", BMI_sensor.datas.acc_x, BMI_sensor.datas.acc_y, BMI_sensor.datas.acc_z, BMI_sensor.datas.delta_time);
  HAL_UART_Transmit(&huart2, (uint8_t*)uart_buffer, strlen(uart_buffer), 100);

  // Transmit system gain parameter
  sprintf(uart_buffer, "G %d\r", Gain);
  HAL_UART_Transmit(&huart2, (uint8_t*)uart_buffer, strlen(uart_buffer), 100);

  // Transmit gyro-only mode status
  sprintf(uart_buffer, "M %d\r\n", gyroOnlyMode);
  HAL_UART_Transmit(&huart2, (uint8_t*)uart_buffer, strlen(uart_buffer), 100);
}

/**
 * @brief Read HMC1021 magnetometer ADC values
 * @note Converts ADC readings to magnetic field strength and transmits data
 */
void read_ADC()
{
    static uint16_t adc1_raw = 0;  // ADC1 değeri (Channel 9)
    static uint16_t adc2_raw = 0;  // ADC2 değeri (Channel 10)
    static uint16_t adc3_raw = 0;  // ADC3 değeri (Channel 11)

    // ADC1 okuma
    HAL_ADC_Start(&hadc1);
    if (HAL_ADC_PollForConversion(&hadc1, 5) == HAL_OK) {
        adc1_raw = HAL_ADC_GetValue(&hadc1);
    }
    HAL_ADC_Stop(&hadc1);

    // ADC2 okuma
    HAL_ADC_Start(&hadc2);
    if (HAL_ADC_PollForConversion(&hadc2, 5) == HAL_OK) {
        adc2_raw = HAL_ADC_GetValue(&hadc2);
    }
    HAL_ADC_Stop(&hadc2);

    // ADC3 okuma
    HAL_ADC_Start(&hadc3);
    if (HAL_ADC_PollForConversion(&hadc3, 5) == HAL_OK) {
        adc3_raw = HAL_ADC_GetValue(&hadc3);
    }
    HAL_ADC_Stop(&hadc3);

    // Kalibrasyonlu değerleri hesapla
    hmc1021_voltage = (adc1_raw * 3.3f) / 4096.0f;  // 3.3V referans, 12-bit ADC
    voltage_V = (adc2_raw * 13.2f) / 4096.0f;  // 3.3V referans, 12-bit ADC
    current_mA = (adc3_raw * CRNT_COEF); // Gerekirse akım sensörüne göre kalibre edin
    hmc1021_gauss = (hmc1021_voltage - 1.65f) / 1.0f;  // 1V/Gauss sensitivity

	if(voltage_V < 7.0){
		e22_sleep_mode(&lora_1);

	}else if(voltage_V >= 7.0){
		e22_transmit_mode(&lora_1);
	}
}

/**
 * @brief GPIO external interrupt callback
 * @param GPIO_Pin The pin that triggered the interrupt
 * @note Handles BMI088 accelerometer and gyroscope data ready interrupts
 */
void HAL_GPIO_EXTI_Callback(uint16_t GPIO_Pin)
{
  if(GPIO_Pin == GPIO_PIN_3)
  {
    // Accelerometer data ready interrupt
    bmi088_set_accel_INT(&BMI_sensor);
  }
  if(GPIO_Pin == GPIO_PIN_4)
  {
    // Gyroscope data ready interrupt
    bmi088_set_gyro_INT(&BMI_sensor);
  }
}

/**
 * @brief Timer period elapsed callback
 * @param htim Timer handle
 * @note Increments timing flags for periodic operations
 */
void HAL_TIM_PeriodElapsedCallback(TIM_HandleTypeDef *htim)
{
  if (htim->Instance == TIM2) {
    tx_timer_flag_100ms++;   // 100ms flag
    tx_timer_flag_1s++;      // 1s flag (counts to 10)
  }
}
/**
 * @brief UART transmission complete callback
 * @param huart UART handle
 * @note Clears transmission busy flag
 */
void HAL_UART_TxCpltCallback(UART_HandleTypeDef *huart)
{
	if (huart->Instance == UART4) {
		usart4_tx_busy = 0;
	}
	if (huart->Instance == USART2) {
		usart2_tx_busy = 0;
	}
}

/**
 * @brief I2C Memory read complete callback (DMA)
 * @param hi2c I2C handle
 * @note Handles BMI088 sensor data DMA transfer completion
 */
void HAL_I2C_MemRxCpltCallback(I2C_HandleTypeDef *hi2c)
{
    if (hi2c->Instance == I2C1) {
        if (hi2c->Devaddress == ACC_I2C_ADD) {
            // Accelerometer data received (9 bytes: XYZ + sensor time)
            bmi088_accel_dma_complete_callback(&BMI_sensor);
        }
        else if (hi2c->Devaddress == GYRO_I2C_ADD) {
            // Gyroscope data received (6 bytes: XYZ)
            bmi088_gyro_dma_complete_callback(&BMI_sensor);
        }
    }
}

/**
 * @brief Send packet via UART4 using DMA
 * @param data Pointer to data buffer
 * @param size Size of data to send
 * @note Non-blocking transmission using DMA
 */
void uart2_send_packet_dma(uint8_t *data, uint16_t size)
{
	if (!usart2_tx_busy) {
		usart2_tx_busy = 1;
		HAL_UART_Transmit_DMA(&huart2, data, size);
	}
}

/**
 * @brief Send packet with LORA using DMA
 * @param data Pointer to data buffer
 * @param size Size of data to send
 * @note Non-blocking transmission using DMA
 */
void lora_send_packet_dma(uint8_t *data, uint16_t size)
{
	if (!usart4_tx_busy) {
		usart4_tx_busy = 1;
		HAL_UART_Transmit_DMA(&huart4, data, size);
	}
}

/* USER CODE END 4 */

void Error_Handler(void)
{
  __disable_irq();
  while (1)
  {
  }
}
